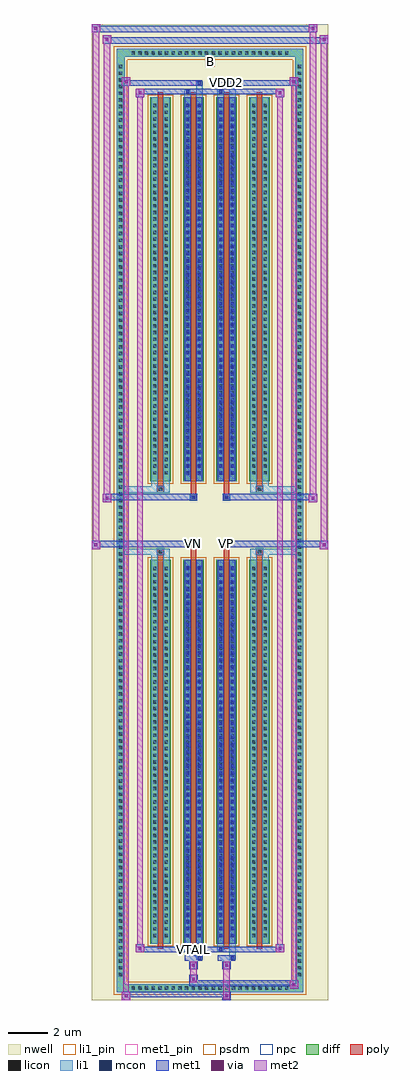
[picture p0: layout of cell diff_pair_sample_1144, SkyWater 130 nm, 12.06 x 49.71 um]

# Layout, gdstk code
import gdstk
lib = gdstk.Library(unit=1e-6, precision=5e-09)
def R(c, l, rs):  # rectangles x0, y0, x1, y1
    for r in rs: c.add(gdstk.rectangle(r[:2], r[2:], *l))
def A(c, l, x, y, w, h, nx, ny, dx, dy):  # array of equal rectangles
    R(c, l, [(x+i*dx, y+j*dy, x+i*dx+w, y+j*dy+h) for i in range(nx) for j in range(ny)])
def P(c, l, *ps):  # polygons
    for p in ps: c.add(gdstk.Polygon(p, *l))
nwell = (64, 20)
diff = (65, 20)
poly = (66, 20)
licon = (66, 44)
li1_pin = (67, 16)
li1 = (67, 20)
mcon = (67, 44)
met1_pin = (68, 16)
met1 = (68, 20)
via = (68, 44)
met2 = (69, 20)
psdm = (94, 20)
npc = (95, 20)

diff_pair_sample_1144 = lib.new_cell('diff_pair_sample_1144')
R(diff_pair_sample_1144, nwell, [(-6.03,-24.42,6.03,25.29), (-3.35,-22.61,-0.01,-0.825), (0.01,-22.61,3.35,-0.825), (-3.35,0.825,-0.01,22.61), (0.01,0.825,3.35,22.61)])
A(diff_pair_sample_1144, diff, -4.115, -24.02, 0.41, 0.41, 24, 2, 0.34, 47.63)
A(diff_pair_sample_1144, diff, -4.76, -23.325, 0.41, 0.41, 1, 137, 0, 0.34)
A(diff_pair_sample_1144, diff, 4.35, -23.325, 0.41, 0.41, 1, 137, 0, 0.34)
A(diff_pair_sample_1144, diff, -3.04, -21.565, 1.04, 19.56, 4, 2, 1.68, 23.57)
R(diff_pair_sample_1144, diff, [(-4.115,-24.02,4.115,-23.61), (-4.76,-23.325,-4.35,23.325), (4.35,-23.325,4.76,23.325), (-4.115,23.61,4.115,24.02)])
P(diff_pair_sample_1144, diff, [(4.76,24.02),(-4.76,24.02),(-4.76,-23.61),(-4.35,-23.61),(-4.35,23.61),(4.35,23.61),(4.35,-23.61),(-4.35,-23.61),(-4.76,-23.61),(-4.76,-24.02),(4.76,-24.02)])
A(diff_pair_sample_1144, poly, -2.65, -21.815, 0.26, 20.06, 4, 2, 1.68, 23.57)
R(diff_pair_sample_1144, poly, [(-2.685,-1.755,-2.355,-1.425), (-2.685,-1.755,-2.355,-1.425), (-0.97,-1.755,-0.71,-1.355), (0.71,-1.755,0.97,-1.355), (2.355,-1.755,2.685,-1.425), (2.355,-1.755,2.685,-1.425), (-1.005,-1.355,-0.675,-1.025), (-1.005,-1.355,-0.675,-1.025), (0.675,-1.355,1.005,-1.025), (0.675,-1.355,1.005,-1.025), (-1.005,1.025,-0.675,1.355), (-1.005,1.025,-0.675,1.355), (0.675,1.025,1.005,1.355), (0.675,1.025,1.005,1.355), (-0.97,1.355,-0.71,1.755), (0.71,1.355,0.97,1.755), (-2.685,1.425,-2.355,1.755), (-2.685,1.425,-2.355,1.755), (2.355,1.425,2.685,1.755), (2.355,1.425,2.685,1.755)])
A(diff_pair_sample_1144, licon, -3.995, -23.9, 0.17, 0.17, 24, 2, 0.34, 47.63)
A(diff_pair_sample_1144, licon, -4.64, -23.205, 0.17, 0.17, 1, 137, 0, 0.34)
A(diff_pair_sample_1144, licon, 4.47, -23.205, 0.17, 0.17, 1, 137, 0, 0.34)
A(diff_pair_sample_1144, licon, -2.9, -21.22, 0.17, 0.17, 1, 56, 0, 0.34)
A(diff_pair_sample_1144, licon, -2.31, -21.22, 0.17, 0.17, 1, 56, 0, 0.34)
A(diff_pair_sample_1144, licon, -1.22, -21.22, 0.17, 0.17, 1, 56, 0, 0.34)
A(diff_pair_sample_1144, licon, -0.63, -21.22, 0.17, 0.17, 1, 56, 0, 0.34)
A(diff_pair_sample_1144, licon, 0.46, -21.22, 0.17, 0.17, 1, 56, 0, 0.34)
A(diff_pair_sample_1144, licon, 1.05, -21.22, 0.17, 0.17, 1, 56, 0, 0.34)
A(diff_pair_sample_1144, licon, 2.14, -21.22, 0.17, 0.17, 1, 56, 0, 0.34)
A(diff_pair_sample_1144, licon, 2.73, -21.22, 0.17, 0.17, 1, 56, 0, 0.34)
A(diff_pair_sample_1144, licon, -2.9, 2.35, 0.17, 0.17, 1, 56, 0, 0.34)
A(diff_pair_sample_1144, licon, -2.31, 2.35, 0.17, 0.17, 1, 56, 0, 0.34)
A(diff_pair_sample_1144, licon, -1.22, 2.35, 0.17, 0.17, 1, 56, 0, 0.34)
A(diff_pair_sample_1144, licon, -0.63, 2.35, 0.17, 0.17, 1, 56, 0, 0.34)
A(diff_pair_sample_1144, licon, 0.46, 2.35, 0.17, 0.17, 1, 56, 0, 0.34)
A(diff_pair_sample_1144, licon, 1.05, 2.35, 0.17, 0.17, 1, 56, 0, 0.34)
A(diff_pair_sample_1144, licon, 2.14, 2.35, 0.17, 0.17, 1, 56, 0, 0.34)
A(diff_pair_sample_1144, licon, 2.73, 2.35, 0.17, 0.17, 1, 56, 0, 0.34)
R(diff_pair_sample_1144, licon, [(-2.605,-1.675,-2.435,-1.505), (2.435,-1.675,2.605,-1.505), (-0.925,-1.275,-0.755,-1.105), (0.755,-1.275,0.925,-1.105), (-0.925,1.105,-0.755,1.275), (0.755,1.105,0.925,1.275), (-2.605,1.505,-2.435,1.675), (2.435,1.505,2.605,1.675)])
R(diff_pair_sample_1144, li1_pin, [(-0.25,23.11,0.25,23.61)])
A(diff_pair_sample_1144, li1, -4.075, -23.98, 0.33, 0.33, 24, 2, 0.34, 47.63)
A(diff_pair_sample_1144, li1, -4.72, -23.285, 0.33, 0.33, 1, 137, 0, 0.34)
A(diff_pair_sample_1144, li1, 4.39, -23.285, 0.33, 0.33, 1, 137, 0, 0.34)
A(diff_pair_sample_1144, li1, -2.98, -21.3, 0.33, 0.33, 1, 56, 0, 0.34)
A(diff_pair_sample_1144, li1, -2.39, -21.3, 0.33, 0.33, 1, 56, 0, 0.34)
A(diff_pair_sample_1144, li1, -1.3, -21.3, 0.33, 0.33, 1, 56, 0, 0.34)
A(diff_pair_sample_1144, li1, -0.71, -21.3, 0.33, 0.33, 1, 56, 0, 0.34)
A(diff_pair_sample_1144, li1, 0.38, -21.3, 0.33, 0.33, 1, 56, 0, 0.34)
A(diff_pair_sample_1144, li1, 0.97, -21.3, 0.33, 0.33, 1, 56, 0, 0.34)
A(diff_pair_sample_1144, li1, 2.06, -21.3, 0.33, 0.33, 1, 56, 0, 0.34)
A(diff_pair_sample_1144, li1, 2.65, -21.3, 0.33, 0.33, 1, 56, 0, 0.34)
A(diff_pair_sample_1144, li1, -1.22, -21.23, 0.17, 0.17, 1, 53, 0, 0.36)
A(diff_pair_sample_1144, li1, -0.63, -21.23, 0.17, 0.17, 1, 53, 0, 0.36)
A(diff_pair_sample_1144, li1, 0.46, -21.23, 0.17, 0.17, 1, 53, 0, 0.36)
A(diff_pair_sample_1144, li1, 1.05, -21.23, 0.17, 0.17, 1, 53, 0, 0.36)
A(diff_pair_sample_1144, li1, -2.98, 2.27, 0.33, 0.33, 1, 56, 0, 0.34)
A(diff_pair_sample_1144, li1, -2.39, 2.27, 0.33, 0.33, 1, 56, 0, 0.34)
A(diff_pair_sample_1144, li1, -1.3, 2.27, 0.33, 0.33, 1, 56, 0, 0.34)
A(diff_pair_sample_1144, li1, -0.71, 2.27, 0.33, 0.33, 1, 56, 0, 0.34)
A(diff_pair_sample_1144, li1, 0.38, 2.27, 0.33, 0.33, 1, 56, 0, 0.34)
A(diff_pair_sample_1144, li1, 0.97, 2.27, 0.33, 0.33, 1, 56, 0, 0.34)
A(diff_pair_sample_1144, li1, 2.06, 2.27, 0.33, 0.33, 1, 56, 0, 0.34)
A(diff_pair_sample_1144, li1, 2.65, 2.27, 0.33, 0.33, 1, 56, 0, 0.34)
A(diff_pair_sample_1144, li1, -1.22, 2.34, 0.17, 0.17, 1, 53, 0, 0.36)
A(diff_pair_sample_1144, li1, -0.63, 2.34, 0.17, 0.17, 1, 53, 0, 0.36)
A(diff_pair_sample_1144, li1, 0.46, 2.34, 0.17, 0.17, 1, 53, 0, 0.36)
A(diff_pair_sample_1144, li1, 1.05, 2.34, 0.17, 0.17, 1, 53, 0, 0.36)
R(diff_pair_sample_1144, li1, [(-4.76,-24.02,-4.35,-23.61), (-4.76,-24.02,-4.35,-23.61), (-4.35,-24.02,4.35,-23.61), (4.35,-24.02,4.76,-23.61), (4.35,-24.02,4.76,-23.61), (-4.76,-23.61,-4.35,23.61), (4.35,-23.61,4.76,23.61), (-0.71,-22.37,-0.38,-21.565), (-0.63,-22.37,-0.46,-22.2), (0.97,-22.37,1.3,-21.565), (1.05,-22.37,1.22,-22.2), (-1.3,-21.94,-0.97,-21.565), (-1.22,-21.94,-1.05,-21.77), (0.38,-21.94,0.71,-21.565), (0.46,-21.94,0.63,-21.77), (-2.98,-21.565,-2.65,-2.005), (-2.39,-21.565,-2.06,-2.005), (-1.3,-21.565,-0.97,-2.005), (-0.71,-21.565,-0.38,-2.005), (0.38,-21.565,0.71,-2.005), (0.97,-21.565,1.3,-2.005), (2.06,-21.565,2.39,-2.005), (2.65,-21.565,2.98,-2.005), (-1.22,-21.23,-1.05,-2.34), (-0.63,-21.23,-0.46,-2.34), (0.46,-21.23,0.63,-2.34), (1.05,-21.23,1.22,-2.34), (-2.98,-2.005,-2.65,-1.425), (-2.39,-2.005,-2.06,-1.425), (2.06,-2.005,2.39,-1.425), (2.65,-2.005,2.98,-1.425), (-4.76,-1.755,-2.685,-1.425), (-2.98,-1.755,-2.685,-1.425), (-2.685,-1.755,-2.355,-1.425), (-2.355,-1.755,-2.06,-1.425), (2.06,-1.755,2.355,-1.425), (2.355,-1.755,2.685,-1.425), (2.355,-1.755,4.76,-1.425), (2.685,-1.755,2.98,-1.425), (-1.005,-1.355,-0.675,-1.025), (0.675,-1.355,1.005,-1.025), (-1.005,1.025,-0.675,1.355), (0.675,1.025,1.005,1.355), (-4.76,1.425,-2.685,1.755), (-2.98,1.425,-2.685,1.755), (-2.98,1.425,-2.65,2.005), (-2.685,1.425,-2.355,1.755), (-2.39,1.425,-2.06,2.005), (-2.355,1.425,-2.06,1.755), (2.06,1.425,2.355,1.755), (2.06,1.425,2.39,2.005), (2.355,1.425,2.685,1.755), (2.355,1.425,4.76,1.755), (2.65,1.425,2.98,2.005), (2.685,1.425,2.98,1.755), (-2.98,2.005,-2.65,21.565), (-2.39,2.005,-2.06,21.565), (-1.3,2.005,-0.97,21.565), (-0.71,2.005,-0.38,21.565), (0.38,2.005,0.71,21.565), (0.97,2.005,1.3,21.565), (2.06,2.005,2.39,21.565), (2.65,2.005,2.98,21.565), (-1.22,2.34,-1.05,21.23), (-0.63,2.34,-0.46,21.23), (0.46,2.34,0.63,21.23), (1.05,2.34,1.22,21.23), (-1.3,21.565,-0.97,21.94), (-0.71,21.565,-0.38,22.37), (0.38,21.565,0.71,21.94), (0.97,21.565,1.3,22.37), (-1.22,21.77,-1.05,21.94), (0.46,21.77,0.63,21.94), (-0.63,22.2,-0.46,22.37), (1.05,22.2,1.22,22.37), (-4.76,23.61,-4.35,24.02), (-4.76,23.61,-4.35,24.02), (-4.35,23.61,4.35,24.02), (4.35,23.61,4.76,24.02), (4.35,23.61,4.76,24.02)])
A(diff_pair_sample_1144, mcon, -1.22, -21.23, 0.17, 0.17, 1, 53, 0, 0.36)
A(diff_pair_sample_1144, mcon, -0.63, -21.23, 0.17, 0.17, 1, 53, 0, 0.36)
A(diff_pair_sample_1144, mcon, 0.46, -21.23, 0.17, 0.17, 1, 53, 0, 0.36)
A(diff_pair_sample_1144, mcon, 1.05, -21.23, 0.17, 0.17, 1, 53, 0, 0.36)
A(diff_pair_sample_1144, mcon, -1.22, 2.34, 0.17, 0.17, 1, 53, 0, 0.36)
A(diff_pair_sample_1144, mcon, -0.63, 2.34, 0.17, 0.17, 1, 53, 0, 0.36)
A(diff_pair_sample_1144, mcon, 0.46, 2.34, 0.17, 0.17, 1, 53, 0, 0.36)
A(diff_pair_sample_1144, mcon, 1.05, 2.34, 0.17, 0.17, 1, 53, 0, 0.36)
R(diff_pair_sample_1144, mcon, [(-0.63,-22.37,-0.46,-22.2), (1.05,-22.37,1.22,-22.2), (-1.22,-21.94,-1.05,-21.77), (0.46,-21.94,0.63,-21.77), (-0.925,-1.275,-0.755,-1.105), (0.755,-1.275,0.925,-1.105), (-0.925,1.105,-0.755,1.275), (0.755,1.105,0.925,1.275), (-1.22,21.77,-1.05,21.94), (0.46,21.77,0.63,21.94), (-0.63,22.2,-0.46,22.37), (1.05,22.2,1.22,22.37)])
R(diff_pair_sample_1144, met1_pin, [(-0.975,-21.98,-0.705,-21.71), (-0.975,-1.295,-0.705,-1.025), (0.705,-1.295,0.975,-1.025), (-0.975,22.16,-0.705,22.43), (0.705,22.16,0.975,22.43)])
A(diff_pair_sample_1144, met1, -1.28, -21.29, 0.29, 0.29, 1, 53, 0, 0.36)
A(diff_pair_sample_1144, met1, -0.69, -21.29, 0.29, 0.29, 1, 53, 0, 0.36)
A(diff_pair_sample_1144, met1, 0.4, -21.29, 0.29, 0.29, 1, 53, 0, 0.36)
A(diff_pair_sample_1144, met1, 0.99, -21.29, 0.29, 0.29, 1, 53, 0, 0.36)
A(diff_pair_sample_1144, met1, -1.28, 2.28, 0.29, 0.29, 1, 53, 0, 0.36)
A(diff_pair_sample_1144, met1, -0.69, 2.28, 0.29, 0.29, 1, 53, 0, 0.36)
A(diff_pair_sample_1144, met1, 0.4, 2.28, 0.29, 0.29, 1, 53, 0, 0.36)
A(diff_pair_sample_1144, met1, 0.99, 2.28, 0.29, 0.29, 1, 53, 0, 0.36)
R(diff_pair_sample_1144, met1, [(-4.49,-24.42,-4.06,-23.99), (0.625,-24.42,1.055,-23.99), (-4.49,-24.28,1.055,-23.99), (4.06,-23.85,4.49,-23.42), (-1.055,-23.71,4.49,-23.42), (-1.055,-23.57,-0.625,-23.14), (-1.055,-22.86,-0.625,-22.43), (0.625,-22.86,1.055,-22.43), (-1.28,-22.43,-0.4,-22.14), (-0.69,-22.43,-0.4,-22.14), (0.4,-22.43,1.28,-22.14), (0.99,-22.43,1.28,-22.14), (-3.78,-22,-3.35,-21.57), (-3.78,-22,-1.28,-21.71), (-1.28,-22,-0.99,-21.71), (-1.28,-22,-0.4,-21.71), (-0.4,-22,0.4,-21.71), (0.4,-22,0.69,-21.71), (0.4,-22,1.28,-21.71), (1.28,-22,3.78,-21.71), (3.35,-22,3.78,-21.57), (-1.28,-21.565,-0.99,-2.005), (-0.69,-21.565,-0.4,-2.005), (0.4,-21.565,0.69,-2.005), (0.99,-21.565,1.28,-2.005), (-6.03,-1.455,-5.6,-1.025), (5.6,-1.455,6.03,-1.025), (-6.03,-1.355,-0.675,-1.025), (-1.005,-1.355,-0.675,-1.025), (0.675,-1.355,1.005,-1.025), (0.675,-1.355,6.03,-1.025), (-0.985,-1.335,-0.695,-1.045), (0.695,-1.335,0.985,-1.045), (-5.46,0.925,-5.03,1.355), (5.03,0.925,5.46,1.355), (-5.46,1.025,-1.005,1.355), (-1.005,1.025,-0.675,1.355), (0.675,1.025,1.005,1.355), (1.005,1.025,5.46,1.355), (-0.985,1.045,-0.695,1.335), (0.695,1.045,0.985,1.335), (-1.28,2.005,-0.99,21.565), (-0.69,2.005,-0.4,21.565), (0.4,2.005,0.69,21.565), (0.99,2.005,1.28,21.565), (-3.78,21.57,-3.35,22), (3.35,21.57,3.78,22), (-3.78,21.71,-1.28,22), (-1.28,21.71,-0.99,22), (-1.28,21.71,-0.4,22), (-0.4,21.71,0.4,22), (0.4,21.71,0.69,22), (0.4,21.71,1.28,22), (1.28,21.71,3.78,22), (-4.49,22.14,-4.06,22.57), (-4.49,22.14,-1.28,22.43), (-1.28,22.14,-0.4,22.43), (-0.69,22.14,-0.4,22.43), (0.4,22.14,1.28,22.43), (0.99,22.14,1.28,22.43), (1.28,22.14,4.49,22.43), (4.06,22.14,4.49,22.57), (-5.46,24.29,-5.03,24.72), (-5.46,24.29,-3.35,24.62), (-3.35,24.29,3.35,24.62), (3.35,24.29,6.03,24.62), (5.6,24.29,6.03,24.72), (-6.03,24.86,-5.6,25.29), (-6.03,24.86,-3.35,25.19), (-3.35,24.86,3.35,25.19), (3.35,24.86,5.46,25.19), (5.03,24.86,5.46,25.29)])
R(diff_pair_sample_1144, via, [(-4.35,-24.28,-4.2,-24.13), (0.765,-24.28,0.915,-24.13), (4.2,-23.71,4.35,-23.56), (-0.915,-23.43,-0.765,-23.28), (-0.915,-22.72,-0.765,-22.57), (0.765,-22.72,0.915,-22.57), (-3.64,-21.86,-3.49,-21.71), (3.49,-21.86,3.64,-21.71), (-5.89,-1.315,-5.74,-1.165), (5.74,-1.315,5.89,-1.165), (-5.32,1.065,-5.17,1.215), (5.17,1.065,5.32,1.215), (-3.64,21.71,-3.49,21.86), (3.49,21.71,3.64,21.86), (-4.35,22.28,-4.2,22.43), (4.2,22.28,4.35,22.43), (-5.32,24.43,-5.17,24.58), (5.74,24.43,5.89,24.58), (-5.89,25,-5.74,25.15), (5.17,25,5.32,25.15)])
R(diff_pair_sample_1144, met2, [(-4.49,-24.42,-4.06,-23.99), (-4.42,-24.42,-4.13,22.57), (-4.13,-24.42,-4.06,-23.99), (-4.44,-24.37,-4.11,-24.04), (0.675,-24.37,1.005,-24.04), (0.675,-24.04,1.005,-22.81), (4.06,-23.85,4.49,-23.42), (4.13,-23.85,4.42,22.57), (4.42,-23.85,4.49,-23.42), (4.11,-23.8,4.44,-23.47), (-1.005,-23.52,-0.675,-23.19), (-1.005,-23.19,-0.675,-22.81), (-1.005,-22.81,-0.675,-22.48), (0.675,-22.81,1.005,-22.48), (-3.78,-22,-3.35,-21.57), (-3.71,-22,-3.42,22), (-3.42,-22,-3.35,-21.57), (3.35,-22,3.78,-21.57), (3.42,-22,3.71,22), (3.71,-22,3.78,-21.57), (-3.73,-21.95,-3.4,-21.62), (3.4,-21.95,3.73,-21.62), (-6.03,-1.455,-5.6,-1.025), (-5.98,-1.455,-5.65,25.29), (-5.65,-1.455,-5.6,-1.025), (5.6,-1.455,6.03,-1.025), (5.65,-1.455,5.98,24.72), (5.98,-1.455,6.03,-1.025), (-5.98,-1.405,-5.65,-1.075), (5.65,-1.405,5.98,-1.075), (-5.46,0.925,-5.03,1.355), (-5.41,0.925,-5.08,24.72), (-5.08,0.925,-5.03,1.355), (5.03,0.925,5.46,1.355), (5.08,0.925,5.41,25.29), (5.41,0.925,5.46,1.355), (-5.41,0.975,-5.08,1.305), (5.08,0.975,5.41,1.305), (-3.78,21.57,-3.35,22), (-3.42,21.57,-3.35,22), (3.35,21.57,3.78,22), (3.71,21.57,3.78,22), (-3.73,21.62,-3.4,21.95), (3.4,21.62,3.73,21.95), (-4.49,22.14,-4.06,22.57), (-4.13,22.14,-4.06,22.57), (4.06,22.14,4.49,22.57), (4.42,22.14,4.49,22.57), (-4.44,22.19,-4.11,22.52), (4.11,22.19,4.44,22.52), (-5.46,24.29,-5.03,24.72), (-5.08,24.29,-5.03,24.72), (5.6,24.29,6.03,24.72), (5.98,24.29,6.03,24.72), (-5.41,24.34,-5.08,24.67), (5.65,24.34,5.98,24.67), (-6.03,24.86,-5.6,25.29), (-5.65,24.86,-5.6,25.29), (5.03,24.86,5.46,25.29), (5.41,24.86,5.46,25.29), (-5.98,24.91,-5.65,25.24), (5.08,24.91,5.41,25.24)])
A(diff_pair_sample_1144, psdm, -3.17, -21.695, 1.3, 19.82, 4, 2, 1.68, 23.57)
P(diff_pair_sample_1144, psdm, [(4.89,24.15),(-4.89,24.15),(-4.89,-23.48),(-4.22,-23.48),(-4.22,23.48),(4.22,23.48),(4.22,-23.48),(-4.22,-23.48),(-4.89,-23.48),(-4.89,-24.15),(4.89,-24.15)])
R(diff_pair_sample_1144, npc, [(-2.705,-1.775,-2.335,-1.405), (2.335,-1.775,2.705,-1.405), (-1.025,-1.375,-0.655,-1.005), (0.655,-1.375,1.025,-1.005), (-1.025,1.005,-0.655,1.375), (0.655,1.005,1.025,1.375), (-2.705,1.405,-2.335,1.775), (2.335,1.405,2.705,1.775)])
diff_pair_sample_1144.add(gdstk.Label('VTAIL', (-0.84,-21.845), layer=68, texttype=5))
diff_pair_sample_1144.add(gdstk.Label('VN', (-0.84,-1.16), layer=68, texttype=5))
diff_pair_sample_1144.add(gdstk.Label('VP', (0.84,-1.16), layer=68, texttype=5))
diff_pair_sample_1144.add(gdstk.Label('B', (0,23.36), layer=67, texttype=5))
diff_pair_sample_1144.add(gdstk.Label('VDD2', (0.84,22.295), layer=68, texttype=5))
diff_pair_sample_1144.add(gdstk.Label('VDD1', (-0.84,22.295), layer=68, texttype=5))

lib.write_gds('diff_pair_sample_1144.gds')
